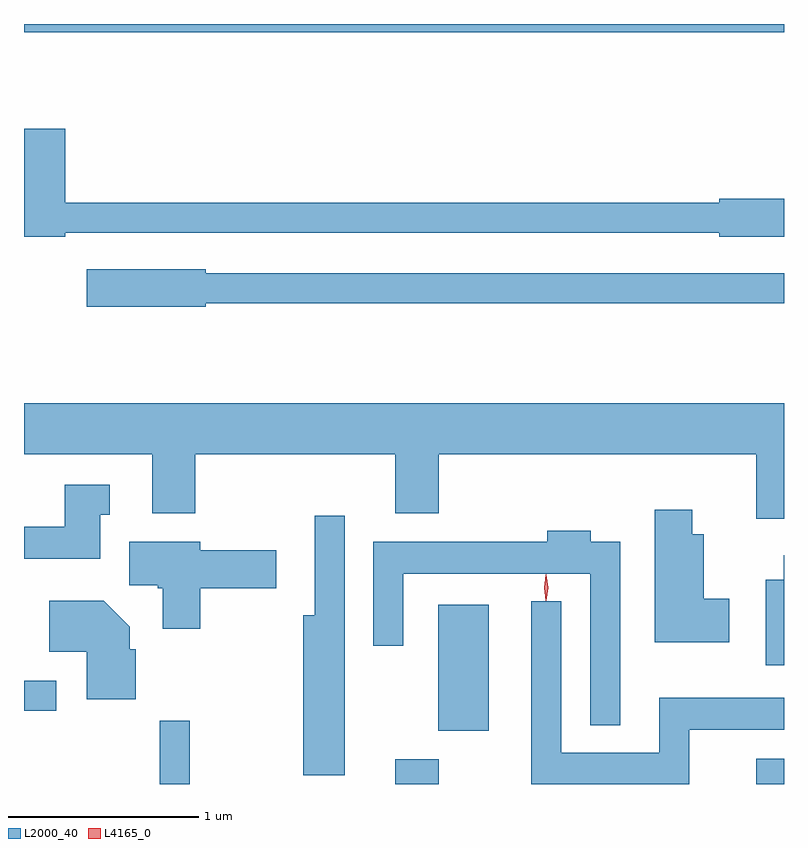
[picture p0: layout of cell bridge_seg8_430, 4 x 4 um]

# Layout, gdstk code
import gdstk
lib = gdstk.Library(unit=1e-6, precision=1e-09)
def R(c, l, rs):  # rectangles x0, y0, x1, y1
    for r in rs: c.add(gdstk.rectangle(r[:2], r[2:], *l))
def P(c, l, *ps):  # polygons
    for p in ps: c.add(gdstk.Polygon(p, *l))
L2000_40 = (2000, 40)
L4165_0 = (4165, 0)

bridge_seg8_430 = lib.new_cell('bridge_seg8_430')
R(bridge_seg8_430, L2000_40, [(976.001,1825.8,976.159,1826.133), (977.241,1825.8,977.469,1825.929), (979.141,1825.8,979.287,1825.934), (977.466,1826.081,977.734,1826.744), (975.287,1826.186,975.458,1826.344), (975.287,1829.756,979.287,1829.8)])
P(bridge_seg8_430, L2000_40, [(975.504,1828.701),(978.946,1828.701),(978.946,1828.681),(979.287,1828.681),(979.287,1828.879),(978.946,1828.879),(978.946,1828.859),(975.504,1828.859),(975.504,1829.249),(975.287,1829.249),(975.287,1828.681),(975.504,1828.681)],
  [(976.244,1828.331),(979.287,1828.331),(979.287,1828.489),(976.244,1828.489),(976.244,1828.509),(975.616,1828.509),(975.616,1828.311),(976.244,1828.311)],
  [(979.287,1827.804),(975.287,1827.804),(975.287,1827.536),(975.961,1827.536),(975.961,1827.226),(976.189,1827.226),(976.189,1827.536),(977.241,1827.536),(977.241,1827.226),(977.469,1827.226),(977.469,1827.536),(979.141,1827.536),(979.141,1827.196),(979.287,1827.196)],
  [(975.689,1827.216),(975.738,1827.216),(975.738,1827.374),(975.501,1827.374),(975.501,1827.154),(975.287,1827.154),(975.287,1826.986),(975.689,1826.986)],
  [(978.999,1826.774),(978.864,1826.774),(978.864,1827.114),(978.804,1827.114),(978.804,1827.244),(978.606,1827.244),(978.606,1826.546),(978.999,1826.546)],
  [(976.974,1827.213),(976.816,1827.213),(976.816,1826.689),(976.756,1826.689),(976.756,1825.846),(976.974,1825.846)],
  [(978.424,1827.074),(978.269,1827.074),(978.269,1827.134),(978.041,1827.134),(978.041,1827.074),(977.126,1827.074),(977.126,1826.528),(977.284,1826.528),(977.284,1826.906),(978.266,1826.906),(978.266,1826.108),(978.424,1826.108)],
  [(976.214,1826.831),(976.614,1826.831),(976.614,1827.029),(976.214,1827.029),(976.214,1827.074),(975.841,1827.074),(975.841,1826.846),(975.99,1826.846),(975.99,1826.831),(976.016,1826.831),(976.016,1826.616),(976.214,1826.616)],
  [(979.287,1827.004),(979.286,1827.004),(979.286,1826.874),(979.191,1826.874),(979.191,1826.426),(979.287,1826.426)],
  [(975.874,1826.509),(975.844,1826.509),(975.844,1826.627),(975.707,1826.764),(975.421,1826.764),(975.421,1826.496),(975.616,1826.496),(975.616,1826.246),(975.874,1826.246)],
  [(978.789,1826.086),(979.287,1826.086),(979.287,1826.254),(978.631,1826.254),(978.631,1825.964),(978.114,1825.964),(978.114,1826.763),(977.956,1826.763),(977.956,1825.8),(978.789,1825.8)])
P(bridge_seg8_430, L4165_0, [(978.034,1826.764),(978.025,1826.833),(978.034,1826.902),(978.035,1826.903),(978.035,1826.902),(978.045,1826.833),(978.035,1826.764),(978.035,1826.764)],
  [(978.034,1826.767),(978.025,1826.834),(978.034,1826.9),(978.035,1826.9),(978.036,1826.9),(978.045,1826.834),(978.036,1826.767),(978.035,1826.767)])

lib.write_gds('bridge_seg8_430.gds')
